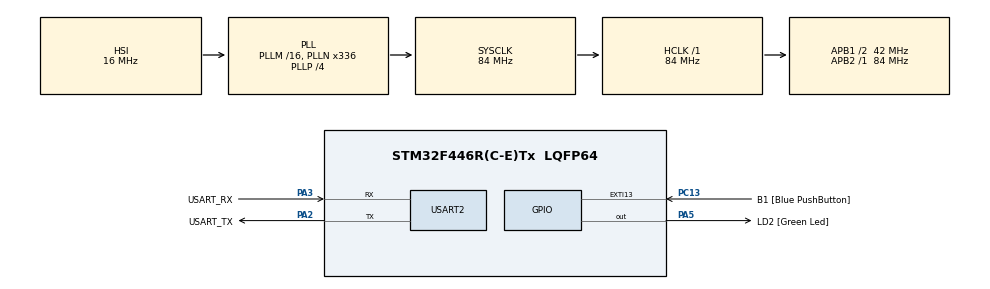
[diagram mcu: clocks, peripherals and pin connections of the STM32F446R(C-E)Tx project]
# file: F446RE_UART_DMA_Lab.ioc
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Dma.Request0=USART2_TX
Dma.USART2_TX.0.Direction=DMA_MEMORY_TO_PERIPH
Dma.USART2_TX.0.FIFOMode=DMA_FIFOMODE_DISABLE
Dma.USART2_TX.0.Instance=DMA1_Stream6
Dma.USART2_TX.0.MemDataAlignment=DMA_MDATAALIGN_BYTE
Dma.USART2_TX.0.MemInc=DMA_MINC_ENABLE
Dma.USART2_TX.0.Mode=DMA_NORMAL
Dma.USART2_TX.0.PeriphDataAlignment=DMA_PDATAALIGN_BYTE
Dma.USART2_TX.0.PeriphInc=DMA_PINC_DISABLE
Dma.USART2_TX.0.Priority=DMA_PRIORITY_LOW
Mcu.Family=STM32F4
Mcu.Name=STM32F446R(C-E)Tx
Mcu.Package=LQFP64
NVIC.DMA1_Stream6_IRQn=true\:0\:0\:false\:false\:true\:false\:true\:true
NVIC.PriorityGroup=NVIC_PRIORITYGROUP_0
NVIC.USART2_IRQn=true\:0\:0\:false\:false\:true\:true\:true\:true
PA13.GPIO_Label=TMS
PA13.Mode=Serial_Wire
PA13.Signal=SYS_JTMS-SWDIO
PA14.GPIO_Label=TCK
PA14.Mode=Serial_Wire
PA14.Signal=SYS_JTCK-SWCLK
PA2.GPIO_Label=USART_TX
PA2.Mode=Asynchronous
PA2.Signal=USART2_TX
PA3.GPIO_Label=USART_RX
PA3.Mode=Asynchronous
PA3.Signal=USART2_RX
PA5.GPIO_Label=LD2 [Green Led]
PA5.Signal=GPIO_Output
PB3.GPIO_Label=SWO
PB3.Signal=SYS_JTDO-SWO
PC13.GPIO_Label=B1 [Blue PushButton]
PC13.GPIO_ModeDefaultEXTI=GPIO_MODE_IT_FALLING
PC13.Signal=GPXTI13
PC14-OSC32_IN.Mode=LSE-External-Oscillator
PC14-OSC32_IN.Signal=RCC_OSC32_IN
PC15-OSC32_OUT.Mode=LSE-External-Oscillator
PC15-OSC32_OUT.Signal=RCC_OSC32_OUT
PH0-OSC_IN.Mode=HSE-External-Oscillator
PH0-OSC_IN.Signal=RCC_OSC_IN
PH1-OSC_OUT.Mode=HSE-External-Oscillator
PH1-OSC_OUT.Signal=RCC_OSC_OUT
ProjectManager.HeapSize=0x200
ProjectManager.StackSize=0x400
ProjectManager.TargetToolchain=STM32CubeIDE
RCC.48MHZClocksFreq_Value=84000000
RCC.AHBFreq_Value=84000000
RCC.APB1CLKDivider=RCC_HCLK_DIV2
RCC.APB1Freq_Value=42000000
RCC.APB1TimFreq_Value=84000000
RCC.APB2Freq_Value=84000000
RCC.APB2TimFreq_Value=84000000
RCC.CortexFreq_Value=84000000
RCC.FLatency-AdvancedSettings=FLASH_LATENCY_2
RCC.HCLKFreq_Value=84000000
RCC.HSE_VALUE=8000000
RCC.HSI_VALUE=16000000
RCC.PLLN=336
RCC.PLLP=RCC_PLLP_DIV4
RCC.SYSCLKFreq_VALUE=84000000
RCC.SYSCLKSource=RCC_SYSCLKSOURCE_PLLCLK
RCC.USBFreq_Value=168000000
RCC.VCOOutputFreq_Value=336000000
USART2.VirtualMode=VM_ASYNC
board=NUCLEO-F446RE

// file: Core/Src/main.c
/* USER CODE BEGIN Header */
/**
  ******************************************************************************
  * @file           : main.c
  * @brief          : Main program body
  ******************************************************************************
  * @attention
  *
  * Copyright (c) 2026 STMicroelectronics.
  * All rights reserved.
  *
  * This software is licensed under terms that can be found in the LICENSE file
  * in the root directory of this software component.
  * If no LICENSE file comes with this software, it is provided AS-IS.
  *
  ******************************************************************************
  */
/* USER CODE END Header */
#include "main.h"

UART_HandleTypeDef huart2;
DMA_HandleTypeDef hdma_usart2_tx;

/* USER CODE BEGIN PV */

static uint8_t txBuffer[] =
    "UART DMA transmission test "
    "abcdefghijklmnopqrstuvwxyz "
    "0123456789\r\n";

static uint8_t busyBuffer[] =
    "UNEXPECTED SECOND TX\r\n";

volatile uint32_t txStartCount = 0;
volatile uint32_t txDoneCount = 0;
volatile uint32_t txBusyCount = 0;
volatile uint32_t txErrorCount = 0;

/* USER CODE END PV */

void SystemClock_Config(void);
static void MX_GPIO_Init(void);
static void MX_DMA_Init(void);
static void MX_USART2_UART_Init(void);

int main(void)
{

  /* MCU Configuration--------------------------------------------------------*/

  /* Reset of all peripherals, Initializes the Flash interface and the Systick. */
  HAL_Init();

  /* Configure the system clock */
  SystemClock_Config();

  /* Initialize all configured peripherals */
  MX_GPIO_Init();
  MX_DMA_Init();
  MX_USART2_UART_Init();

  /* Infinite loop */
  while (1)
  {

    /* USER CODE BEGIN 3 */

	  HAL_StatusTypeDef status;

	  status = HAL_UART_Transmit_DMA(
	      &huart2,
	      txBuffer,
	      sizeof(txBuffer) - 1U
	  );

	  if (status == HAL_OK)
	  {
	      txStartCount++;

	      /* Boundary test: first transfer only */
	      if (txStartCount == 1U)
	      {
	          status = HAL_UART_Transmit_DMA(
	              &huart2,
	              busyBuffer,
	              sizeof(busyBuffer) - 1U
	          );

	          if (status == HAL_BUSY)
	          {
	              txBusyCount++;
	          }
	          else
	          {
	              txErrorCount++;
	          }
	      }
	  }
	  else
	  {
	      txErrorCount++;
	  }

	  HAL_Delay(1000);

  }
  /* USER CODE END 3 */
}

void SystemClock_Config(void)
{
  RCC_OscInitTypeDef RCC_OscInitStruct = {0};
  RCC_ClkInitTypeDef RCC_ClkInitStruct = {0};

  /** Configure the main internal regulator output voltage
  */
  __HAL_RCC_PWR_CLK_ENABLE();
  __HAL_PWR_VOLTAGESCALING_CONFIG(PWR_REGULATOR_VOLTAGE_SCALE3);

  /** Initializes the RCC Oscillators according to the specified parameters
  * in the RCC_OscInitTypeDef structure.
  */
  RCC_OscInitStruct.OscillatorType = RCC_OSCILLATORTYPE_HSI;
  RCC_OscInitStruct.HSIState = RCC_HSI_ON;
  RCC_OscInitStruct.HSICalibrationValue = RCC_HSICALIBRATION_DEFAULT;
  RCC_OscInitStruct.PLL.PLLState = RCC_PLL_ON;
  RCC_OscInitStruct.PLL.PLLSource = RCC_PLLSOURCE_HSI;
  RCC_OscInitStruct.PLL.PLLM = 16;
  RCC_OscInitStruct.PLL.PLLN = 336;
  RCC_OscInitStruct.PLL.PLLP = RCC_PLLP_DIV4;
  RCC_OscInitStruct.PLL.PLLQ = 2;
  RCC_OscInitStruct.PLL.PLLR = 2;
  if (HAL_RCC_OscConfig(&RCC_OscInitStruct) != HAL_OK)
  {
    Error_Handler();
  }

  /** Initializes the CPU, AHB and APB buses clocks
  */
  RCC_ClkInitStruct.ClockType = RCC_CLOCKTYPE_HCLK|RCC_CLOCKTYPE_SYSCLK
                              |RCC_CLOCKTYPE_PCLK1|RCC_CLOCKTYPE_PCLK2;
  RCC_ClkInitStruct.SYSCLKSource = RCC_SYSCLKSOURCE_PLLCLK;
  RCC_ClkInitStruct.AHBCLKDivider = RCC_SYSCLK_DIV1;
  RCC_ClkInitStruct.APB1CLKDivider = RCC_HCLK_DIV2;
  RCC_ClkInitStruct.APB2CLKDivider = RCC_HCLK_DIV1;

  if (HAL_RCC_ClockConfig(&RCC_ClkInitStruct, FLASH_LATENCY_2) != HAL_OK)
  {
    Error_Handler();
  }
}

static void MX_USART2_UART_Init(void)
{

  huart2.Instance = USART2;
  huart2.Init.BaudRate = 115200;
  huart2.Init.WordLength = UART_WORDLENGTH_8B;
  huart2.Init.StopBits = UART_STOPBITS_1;
  huart2.Init.Parity = UART_PARITY_NONE;
  huart2.Init.Mode = UART_MODE_TX_RX;
  huart2.Init.HwFlowCtl = UART_HWCONTROL_NONE;
  huart2.Init.OverSampling = UART_OVERSAMPLING_16;
  if (HAL_UART_Init(&huart2) != HAL_OK)
  {
    Error_Handler();
  }

}

static void MX_DMA_Init(void)
{

  /* DMA controller clock enable */
  __HAL_RCC_DMA1_CLK_ENABLE();

  /* DMA interrupt init */
  /* DMA1_Stream6_IRQn interrupt configuration */
  HAL_NVIC_SetPriority(DMA1_Stream6_IRQn, 0, 0);
  HAL_NVIC_EnableIRQ(DMA1_Stream6_IRQn);

}

static void MX_GPIO_Init(void)
{
  GPIO_InitTypeDef GPIO_InitStruct = {0};

  /* GPIO Ports Clock Enable */
  __HAL_RCC_GPIOC_CLK_ENABLE();
  __HAL_RCC_GPIOH_CLK_ENABLE();
  __HAL_RCC_GPIOA_CLK_ENABLE();
  __HAL_RCC_GPIOB_CLK_ENABLE();

  /*Configure GPIO pin Output Level */
  HAL_GPIO_WritePin(LD2_GPIO_Port, LD2_Pin, GPIO_PIN_RESET);

  /*Configure GPIO pin : B1_Pin */
  GPIO_InitStruct.Pin = B1_Pin;
  GPIO_InitStruct.Mode = GPIO_MODE_IT_FALLING;
  GPIO_InitStruct.Pull = GPIO_NOPULL;
  HAL_GPIO_Init(B1_GPIO_Port, &GPIO_InitStruct);

  /*Configure GPIO pin : LD2_Pin */
  GPIO_InitStruct.Pin = LD2_Pin;
  GPIO_InitStruct.Mode = GPIO_MODE_OUTPUT_PP;
  GPIO_InitStruct.Pull = GPIO_NOPULL;
  GPIO_InitStruct.Speed = GPIO_SPEED_FREQ_LOW;
  HAL_GPIO_Init(LD2_GPIO_Port, &GPIO_InitStruct);

}

/* USER CODE BEGIN 4 */

void HAL_UART_TxCpltCallback(
    UART_HandleTypeDef *huart)
{
    if (huart->Instance == USART2)
    {
        txDoneCount++;
    }
}

/* USER CODE END 4 */

void Error_Handler(void)
{
  __disable_irq();
  while (1)
  {
  }
}
